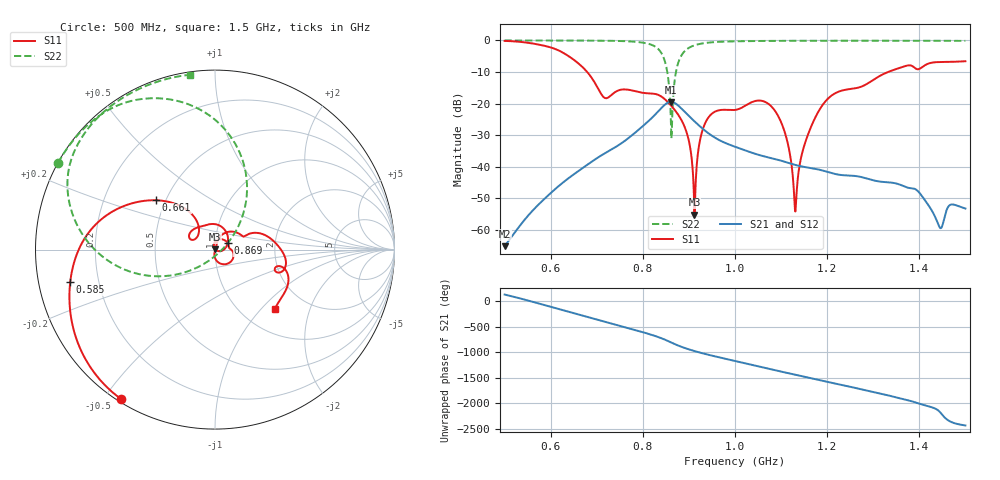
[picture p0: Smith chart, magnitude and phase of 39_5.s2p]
! TOUCHSTONE file generated by CST MICROWAVE STUDIO
! Date and time: Fri Oct  2 19:16:56 2020
! Project name: Scenario_1_Free_Space_out_of_line.cst
! Parameters = {Lambda=346.42; Step_1=17.321; dy1=-311.318; dx1=866; L_HA=400; MT=2.54; Rad_Dielectric=30; Rad_Lower=7.3; Rad_Upper=30; a_HA=580; a_WG=246; b_HA=500; b_WG=121; c_HA=0; c_WG=187; d_feed=85; h_feed=15; h_lower=18; h_upper=40}
! Header version: 2018
! Port assignment regex: !\s*Touchstone port\s*([0-9]+)\s*=\s*(CST MWS port|CST DS port)\s*([0-9]+|Zmin|Zmax)\s*\(\"(.*)\"\)(\s*mode\s*([0-9]+))?.*
! Touchstone port assignment:
! Touchstone port 1 = CST MWS port 1 ("")
! Touchstone port 2 = CST MWS port 2 ("")
# GHz S DB R 50
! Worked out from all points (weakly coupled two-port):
!   1003 points, 500 MHz to 1.5 GHz, reference 50 ohm
!   highest |S21| = -19.43 dB at 861 MHz (marker M1); lowest = -65.1 dB at 500 MHz (marker M2)
!   lowest |S11| = -55.1 dB at 912 MHz (marker M3), VSWR 1.00, Z = 50.2 + j0.071 ohm
!   |S11| at or under -10 dB: 679.2 MHz to 1.332 GHz (652.8 MHz wide, 64.9 % of centre)
!   |S22| runs from -31.0 to 0.0 dB; largest |S21 - S12| = 4.6e-05
!   S11 on the Smith chart (normalised r, x): 500 MHz: 0.01, -0.55; 585 MHz: 0.10, -0.11; 661 MHz: 0.44, +0.30; 869 MHz: 1.15, +0.08; 1.5 GHz: 1.42, -1.19
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0.5  -0.15 -122.3  -65.12 127.0  -65.12 127.0  -0.01 151.1
0.585  -1.65 -167.3  -50.34 -74.8  -50.34 -74.8  -0.02 145.3
0.661  -7.38 140.0  -41.25 95.9  -41.25 95.9  -0.04 139.0
0.667  -8.16 136.2  -40.63 81.1  -40.63 81.1  -0.04 138.4
0.718  -18.24 141.6  -35.68 -46.0  -35.68 -46.0  -0.10 132.7
0.834  -17.26 80.6  -22.36 14.0  -22.36 14.0  -2.80 90.1
0.85  -18.91 55.4  -20.08 -42.9  -20.08 -42.9  -7.80 64.1
0.861  -20.58 38.9  -19.43 -88.0  -19.43 -88.0  -25.97 12.1
0.869  -21.97 27.2  -19.77 -120.9  -19.77 -120.9  -12.71 -145.0
0.897  -30.08 -16.0  -23.48 143.7  -23.48 143.7  -2.62 173.8
0.912  -55.12 23.8  -25.61 102.2  -25.61 102.2  -1.55 164.0
0.938  -25.38 76.9  -28.91 38.9  -28.91 38.9  -0.76 153.6
1  -21.99 6.6  -33.64 -92.5  -33.64 -92.5  -0.28 140.8
1.086  -22.12 -72.4  -37.51 90.2  -37.51 90.2  -0.14 131.3
1.113  -31.64 -97.4  -38.63 34.4  -38.63 34.4  -0.12 128.9
1.131  -54.14 -11.2  -39.41 -1.3  -39.41 -1.3  -0.11 127.3
1.167  -26.67 74.4  -40.44 -72.3  -40.44 -72.3  -0.10 124.4
1.212  -17.19 46.7  -42.08 -162.9  -42.08 -162.9  -0.09 120.9
1.334  -9.88 10.3  -44.93 -48.0  -44.93 -48.0  -0.09 111.7
1.395  -9.09 -18.6  -47.44 167.5  -47.44 167.5  -0.10 106.9
1.445  -6.83 -31.0  -59.31 -12.7  -59.41 -13.1  -0.12 102.9
1.5  -6.58 -44.5  -53.20 87.4  -53.20 87.4  -0.14 98.2
